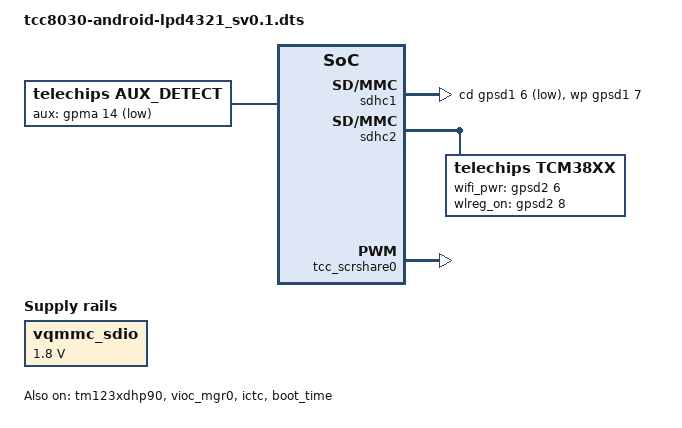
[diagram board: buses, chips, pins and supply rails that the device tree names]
// SPDX-License-Identifier: (GPL-2.0+ OR MIT)
/*
 * Device tree for Telechips TCC8031 AVN board
 *
 * Copyright (C) 2018 Telechips Inc.
 */

#ifndef DT_OVERLAY
/dts-v1/;
#endif

#include "tcc8031-android-avn.dtsi"
/ {
	aux_detect {
		compatible = "telechips,aux_detect";
		status = "okay";
		pinctrl-names = "default";

		pinctrl-0 = <&aux_detect_pin>;
		aux-gpios = <&gpma 14 1>;
		aux-active = <1>;
	};

};

&aux_detect_pin {
	telechips,pins = "gpma-14";
};

/* SD CARD */
&sdhc1_pwrseq {
	compatible = "mmc-pwrseq-simple";
	reset-gpios = <&gpsd1 8 GPIO_ACTIVE_LOW>;
};

&sdhc1 {
	broken-cd;
	cd-inverted;
	keep-power-in-suspend;

	wp-gpios = <&gpsd1 7 0>;
	cd-gpios = <&gpsd1 6 0>;

	mmc-pwrseq = <&sdhc1_pwrseq>;
	vqmmc-supply = <&vdd_ldo3>;
};

/* SDIO */
&vqmmc_sdio {
	compatible = "regulator-fixed";
	regulator-name = "vqmmc_sdio";
	regulator-min-microvolt = <1800000>;
	regulator-max-microvolt = <1800000>;
	regulator-always-on;
};

&sdhc2 {
	//non-removable;
	keep-power-in-suspend;
	cap-sdio-irq;

	vqmmc-supply = <&vqmmc_sdio>;

	cd-force-presence-change;

	tcm38xx {
		compatible = "telechips,tcm38xx";
		wifi_pwr-gpio = <&gpsd2 6 0>; /* BT_WIFI_VBAT_EN */
		wlreg_on-gpio = <&gpsd2 8 0>; /* WIFI_REG_ON */
		//wifi_pwr_1p8v-gpio = <&gpsd1 6 0>;
		//wifi_pwr_3p3v-gpio = <&gpsd1 7 0>;
	};
};

&tcc_timer {
	/* Timer 0 is used for WIFI LPO */
	tcc-timer-reserved = <0>;
};

&tm123xdhp90 {
	compatible = "telechips,lvds-tm123xdhp90";
	status = "okay";
	lvds0 = <&lvds_phy>;
	power-on-gpios = <&gpb 17>;	// LCD_ON
	reset-gpios = <&gpb 18 0>;	// LCD_RST
	/*
	 * display-on-gpios = ;		// LCD_DISP
	 * lvds-stby-gpios = ;		// LCD_DE = LVDS_STBY in LVDS
	 * lvds-power-gpios = ;		// LVDS_EN
	 * lvds-power-gpios1 = ;	// V_5V0_EN
	 */
	mode = <1>;		/* 0: single 1: dual */
	ports = <2 3 4>;
	mux_select = <0>; /*lcdc mux select */
};

&gpu1 {
	status = "disabled";
};

&tcc_scrshare0{
	status = "okay";
};

&vioc_mgr0 {
	status = "okay";
};

&ictc {
	status = "okay";
};

&boot_time {
	status = "okay";
};
